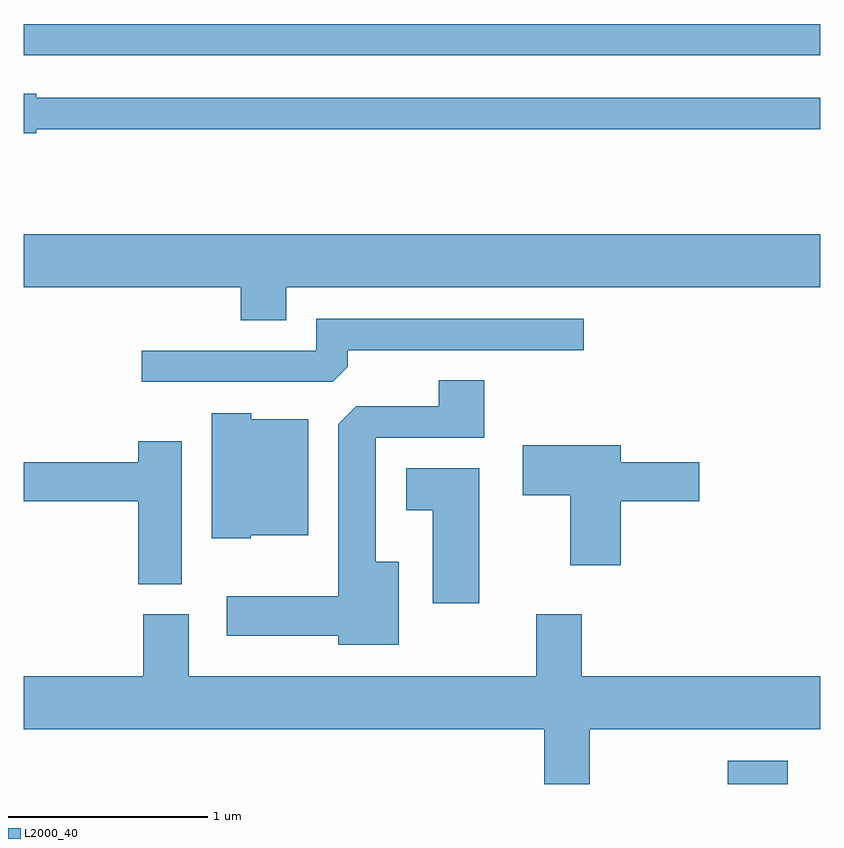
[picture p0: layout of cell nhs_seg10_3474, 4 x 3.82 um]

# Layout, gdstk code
import gdstk
lib = gdstk.Library(unit=1e-6, precision=1e-09)
def R(c, l, rs):  # rectangles x0, y0, x1, y1
    for r in rs: c.add(gdstk.rectangle(r[:2], r[2:], *l))
def P(c, l, *ps):  # polygons
    for p in ps: c.add(gdstk.Polygon(p, *l))
L2000_40 = (2000, 40)

nhs_seg10_3474 = lib.new_cell('nhs_seg10_3474')
R(nhs_seg10_3474, L2000_40, [(291.146,2122.522,291.449,2122.639), (287.611,2126.181,291.611,2126.339)])
P(nhs_seg10_3474, L2000_40, [(287.674,2125.811),(291.611,2125.811),(291.611,2125.969),(287.674,2125.969),(287.674,2125.989),(287.611,2125.989),(287.611,2125.791),(287.674,2125.791)],
  [(288.929,2125.016),(291.611,2125.016),(291.611,2125.284),(287.611,2125.284),(287.611,2125.016),(288.701,2125.016),(288.701,2124.851),(288.929,2124.851)],
  [(289.239,2124.617),(289.239,2124.701),(290.423,2124.701),(290.423,2124.859),(289.081,2124.859),(289.081,2124.699),(288.203,2124.699),(288.203,2124.541),(289.164,2124.541)],
  [(289.494,2123.639),(289.379,2123.639),(289.379,2124.261),(289.924,2124.261),(289.924,2124.549),(289.696,2124.549),(289.696,2124.419),(289.282,2124.419),(289.191,2124.329),(289.191,2123.464),(288.631,2123.464),(288.631,2123.266),(289.191,2123.266),(289.191,2123.221),(289.494,2123.221)],
  [(288.75,2123.771),(289.039,2123.771),(289.039,2124.354),(288.754,2124.354),(288.754,2124.384),(288.556,2124.384),(288.556,2123.756),(288.75,2123.756)],
  [(288.404,2124.244),(288.186,2124.244),(288.186,2124.139),(287.611,2124.139),(287.611,2123.941),(288.186,2123.941),(288.186,2123.526),(288.404,2123.526)],
  [(290.609,2123.941),(291.004,2123.941),(291.004,2124.139),(290.609,2124.139),(290.609,2124.224),(290.116,2124.224),(290.116,2123.971),(290.356,2123.971),(290.356,2123.621),(290.609,2123.621)],
  [(289.899,2124.109),(289.531,2124.109),(289.531,2123.896),(289.666,2123.896),(289.666,2123.431),(289.899,2123.431)],
  [(290.226,2122.522),(290.454,2122.522),(290.454,2122.796),(291.611,2122.796),(291.611,2123.064),(290.414,2123.064),(290.414,2123.374),(290.186,2123.374),(290.186,2123.064),(288.439,2123.064),(288.439,2123.374),(288.211,2123.374),(288.211,2123.064),(287.611,2123.064),(287.611,2122.796),(290.226,2122.796)])

lib.write_gds('nhs_seg10_3474.gds')
